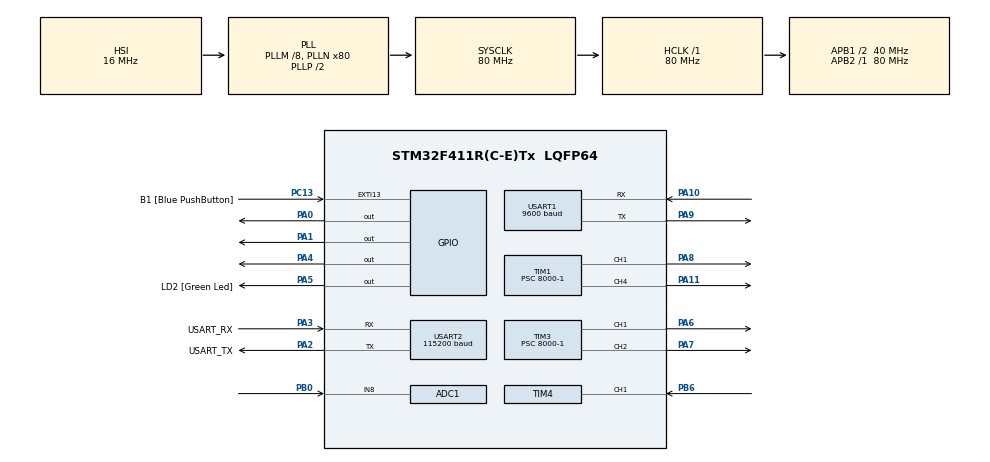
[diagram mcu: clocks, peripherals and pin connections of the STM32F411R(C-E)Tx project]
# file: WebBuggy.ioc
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ADC1.Channel-5\#ChannelRegularConversion=ADC_CHANNEL_8
ADC1.NbrOfConversionFlag=1
ADC1.Rank-5\#ChannelRegularConversion=1
ADC1.SamplingTime-5\#ChannelRegularConversion=ADC_SAMPLETIME_3CYCLES
ADC1.master=1
FREERTOS.Tasks01=defaultTask,0,128,StartDefaultTask,Default,NULL,Dynamic,NULL,NULL;UltrasonicTask,1,128,StartTask02,Default,NULL,Dynamic,NULL,NULL
Mcu.Family=STM32F4
Mcu.Name=STM32F411R(C-E)Tx
Mcu.Package=LQFP64
NVIC.PriorityGroup=NVIC_PRIORITYGROUP_4
NVIC.TIM1_BRK_TIM9_IRQn=true\:15\:0\:false\:false\:true\:false\:false\:true
NVIC.TIM4_IRQn=true\:5\:0\:false\:false\:true\:true\:true\:true
NVIC.TimeBase=TIM1_BRK_TIM9_IRQn
NVIC.TimeBaseIP=TIM9
PA0-WKUP.Signal=GPIO_Output
PA1.Signal=GPIO_Output
PA10.Mode=Asynchronous
PA10.Signal=USART1_RX
PA11.Signal=S_TIM1_CH4
PA13.GPIO_Label=TMS
PA13.Mode=Serial_Wire
PA13.Signal=SYS_JTMS-SWDIO
PA14.GPIO_Label=TCK
PA14.Mode=Serial_Wire
PA14.Signal=SYS_JTCK-SWCLK
PA2.GPIO_Label=USART_TX
PA2.Mode=Asynchronous
PA2.Signal=USART2_TX
PA3.GPIO_Label=USART_RX
PA3.Mode=Asynchronous
PA3.Signal=USART2_RX
PA4.Signal=GPIO_Output
PA5.GPIO_Label=LD2 [Green Led]
PA5.Signal=GPIO_Output
PA6.Signal=S_TIM3_CH1
PA7.Signal=S_TIM3_CH2
PA8.Signal=S_TIM1_CH1
PA9.Mode=Asynchronous
PA9.Signal=USART1_TX
PB0.Signal=ADCx_IN8
PB3.GPIO_Label=SWO
PB3.Signal=SYS_JTDO-SWO
PB6.Signal=S_TIM4_CH1
PC13-ANTI_TAMP.GPIO_Label=B1 [Blue PushButton]
PC13-ANTI_TAMP.GPIO_ModeDefaultEXTI=GPIO_MODE_IT_FALLING
PC13-ANTI_TAMP.Signal=GPXTI13
PC14-OSC32_IN.Mode=LSE-External-Oscillator
PC14-OSC32_IN.Signal=RCC_OSC32_IN
PC15-OSC32_OUT.Mode=LSE-External-Oscillator
PC15-OSC32_OUT.Signal=RCC_OSC32_OUT
PH0\ -\ OSC_IN.Mode=HSE-External-Clock-Source
PH0\ -\ OSC_IN.Signal=RCC_OSC_IN
PH1\ -\ OSC_OUT.Mode=HSE-External-Clock-Source
PH1\ -\ OSC_OUT.Signal=RCC_OSC_OUT
ProjectManager.HeapSize=0x200
ProjectManager.StackSize=0x400
ProjectManager.TargetToolchain=STM32CubeIDE
RCC.48MHZClocksFreq_Value=40000000
RCC.AHBFreq_Value=80000000
RCC.APB1CLKDivider=RCC_HCLK_DIV2
RCC.APB1Freq_Value=40000000
RCC.APB1TimFreq_Value=80000000
RCC.APB2Freq_Value=80000000
RCC.APB2TimFreq_Value=80000000
RCC.CortexFreq_Value=80000000
RCC.FLatency-AdvancedSettings=FLASH_LATENCY_2
RCC.HCLKFreq_Value=80000000
RCC.HSE_VALUE=8000000
RCC.HSI_VALUE=16000000
RCC.PLLM=8
RCC.PLLN=80
RCC.SYSCLKFreq_VALUE=80000000
RCC.SYSCLKSource=RCC_SYSCLKSOURCE_PLLCLK
RCC.VCOOutputFreq_Value=160000000
SH.ADCx_IN8.0=ADC1_IN8,IN8
SH.S_TIM1_CH1.0=TIM1_CH1,PWM Generation1 CH1
SH.S_TIM1_CH4.0=TIM1_CH4,PWM Generation4 CH4
SH.S_TIM3_CH1.0=TIM3_CH1,PWM Generation1 CH1
SH.S_TIM3_CH2.0=TIM3_CH2,PWM Generation2 CH2
SH.S_TIM4_CH1.0=TIM4_CH1,Input_Capture1_from_TI1
TIM1.Channel-PWM\ Generation1\ CH1=TIM_CHANNEL_1
TIM1.Channel-PWM\ Generation4\ CH4=TIM_CHANNEL_4
TIM1.Period=100
TIM1.Prescaler=8000-1
TIM3.Channel-PWM\ Generation1\ CH1=TIM_CHANNEL_1
TIM3.Channel-PWM\ Generation2\ CH2=TIM_CHANNEL_2
TIM3.Period=100
TIM3.Prescaler=8000-1
TIM4.Channel-Input_Capture1_from_TI1=TIM_CHANNEL_1
TIM4.Prescaler=80-1
USART1.BaudRate=9600
USART1.VirtualMode=VM_ASYNC
USART2.BaudRate=115200
USART2.VirtualMode=VM_ASYNC
VP_FREERTOS_VS_CMSIS_V1.Mode=CMSIS_V1
VP_SYS_VS_tim9.Mode=TIM9
VP_TIM1_VS_ClockSourceINT.Mode=Internal
VP_TIM3_VS_ClockSourceINT.Mode=Internal
board=NUCLEO-F411RE

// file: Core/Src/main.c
/* USER CODE BEGIN Header */
/**
 ******************************************************************************
 * @file           : main.c
 * @brief          : Main program body
 ******************************************************************************
 * @attention
 *
 * Copyright (c) 2022 STMicroelectronics.
 * All rights reserved.
 *
 * This software is licensed under terms that can be found in the LICENSE file
 * in the root directory of this software component.
 * If no LICENSE file comes with this software, it is provided AS-IS.
 *
 ******************************************************************************
 */
/* USER CODE END Header */
#include "main.h"
#include "cmsis_os.h"

/* USER CODE BEGIN Includes */
#include "ultrasonic.h"
#include "motor.h"
/* USER CODE END Includes */

ADC_HandleTypeDef hadc1;

TIM_HandleTypeDef htim1;
TIM_HandleTypeDef htim3;
TIM_HandleTypeDef htim4;

UART_HandleTypeDef huart1;
UART_HandleTypeDef huart2;

osThreadId defaultTaskHandle;
osThreadId UltrasonicTaskHandle;

void SystemClock_Config(void);
static void MX_GPIO_Init(void);
static void MX_USART2_UART_Init(void);
static void MX_USART1_UART_Init(void);
static void MX_TIM1_Init(void);
static void MX_TIM3_Init(void);
static void MX_TIM4_Init(void);
static void MX_ADC1_Init(void);
void StartDefaultTask(void const * argument);
void StartTask02(void const * argument);

/* USER CODE BEGIN 0 */
int d = 0;
uint16_t light;
int lighton = 0;

/* USER CODE END 0 */

int main(void)
{

  /* MCU Configuration--------------------------------------------------------*/

  /* Reset of all peripherals, Initializes the Flash interface and the Systick. */
  HAL_Init();

  /* Configure the system clock */
  SystemClock_Config();

  /* Initialize all configured peripherals */
  MX_GPIO_Init();
  MX_USART2_UART_Init();
  MX_USART1_UART_Init();
  MX_TIM1_Init();
  MX_TIM3_Init();
  MX_TIM4_Init();
  MX_ADC1_Init();
  /* USER CODE BEGIN 2 */
	HAL_TIM_PWM_Start(&htim1, TIM_CHANNEL_1);
	HAL_TIM_PWM_Start(&htim1, TIM_CHANNEL_4);
	HAL_TIM_PWM_Start(&htim3, TIM_CHANNEL_1);
	HAL_TIM_PWM_Start(&htim3, TIM_CHANNEL_2);
	HAL_TIM_IC_Start_IT(&htim4, TIM_CHANNEL_1);

  /* USER CODE END 2 */

  /* Create the thread(s) */
  /* definition and creation of defaultTask */
  osThreadDef(defaultTask, StartDefaultTask, osPriorityNormal, 0, 128);
  defaultTaskHandle = osThreadCreate(osThread(defaultTask), NULL);

  /* definition and creation of UltrasonicTask */
  osThreadDef(UltrasonicTask, StartTask02, osPriorityAboveNormal, 0, 128);
  UltrasonicTaskHandle = osThreadCreate(osThread(UltrasonicTask), NULL);

  /* Start scheduler */
  osKernelStart();

  /* We should never get here as control is now taken by the scheduler */
  /* Infinite loop */
	while (1) {

	}
}

void SystemClock_Config(void)
{
  RCC_OscInitTypeDef RCC_OscInitStruct = {0};
  RCC_ClkInitTypeDef RCC_ClkInitStruct = {0};

  /** Configure the main internal regulator output voltage
  */
  __HAL_RCC_PWR_CLK_ENABLE();
  __HAL_PWR_VOLTAGESCALING_CONFIG(PWR_REGULATOR_VOLTAGE_SCALE1);
  /** Initializes the RCC Oscillators according to the specified parameters
  * in the RCC_OscInitTypeDef structure.
  */
  RCC_OscInitStruct.OscillatorType = RCC_OSCILLATORTYPE_HSI;
  RCC_OscInitStruct.HSIState = RCC_HSI_ON;
  RCC_OscInitStruct.HSICalibrationValue = RCC_HSICALIBRATION_DEFAULT;
  RCC_OscInitStruct.PLL.PLLState = RCC_PLL_ON;
  RCC_OscInitStruct.PLL.PLLSource = RCC_PLLSOURCE_HSI;
  RCC_OscInitStruct.PLL.PLLM = 8;
  RCC_OscInitStruct.PLL.PLLN = 80;
  RCC_OscInitStruct.PLL.PLLP = RCC_PLLP_DIV2;
  RCC_OscInitStruct.PLL.PLLQ = 4;
  if (HAL_RCC_OscConfig(&RCC_OscInitStruct) != HAL_OK)
  {
    Error_Handler();
  }
  /** Initializes the CPU, AHB and APB buses clocks
  */
  RCC_ClkInitStruct.ClockType = RCC_CLOCKTYPE_HCLK|RCC_CLOCKTYPE_SYSCLK
                              |RCC_CLOCKTYPE_PCLK1|RCC_CLOCKTYPE_PCLK2;
  RCC_ClkInitStruct.SYSCLKSource = RCC_SYSCLKSOURCE_PLLCLK;
  RCC_ClkInitStruct.AHBCLKDivider = RCC_SYSCLK_DIV1;
  RCC_ClkInitStruct.APB1CLKDivider = RCC_HCLK_DIV2;
  RCC_ClkInitStruct.APB2CLKDivider = RCC_HCLK_DIV1;

  if (HAL_RCC_ClockConfig(&RCC_ClkInitStruct, FLASH_LATENCY_2) != HAL_OK)
  {
    Error_Handler();
  }
}

static void MX_ADC1_Init(void)
{

  ADC_ChannelConfTypeDef sConfig = {0};

  /** Configure the global features of the ADC (Clock, Resolution, Data Alignment and number of conversion)
  */
  hadc1.Instance = ADC1;
  hadc1.Init.ClockPrescaler = ADC_CLOCK_SYNC_PCLK_DIV4;
  hadc1.Init.Resolution = ADC_RESOLUTION_12B;
  hadc1.Init.ScanConvMode = DISABLE;
  hadc1.Init.ContinuousConvMode = DISABLE;
  hadc1.Init.DiscontinuousConvMode = DISABLE;
  hadc1.Init.ExternalTrigConvEdge = ADC_EXTERNALTRIGCONVEDGE_NONE;
  hadc1.Init.ExternalTrigConv = ADC_SOFTWARE_START;
  hadc1.Init.DataAlign = ADC_DATAALIGN_RIGHT;
  hadc1.Init.NbrOfConversion = 1;
  hadc1.Init.DMAContinuousRequests = DISABLE;
  hadc1.Init.EOCSelection = ADC_EOC_SINGLE_CONV;
  if (HAL_ADC_Init(&hadc1) != HAL_OK)
  {
    Error_Handler();
  }
  /** Configure for the selected ADC regular channel its corresponding rank in the sequencer and its sample time.
  */
  sConfig.Channel = ADC_CHANNEL_8;
  sConfig.Rank = 1;
  sConfig.SamplingTime = ADC_SAMPLETIME_3CYCLES;
  if (HAL_ADC_ConfigChannel(&hadc1, &sConfig) != HAL_OK)
  {
    Error_Handler();
  }

}

static void MX_TIM1_Init(void)
{

  TIM_ClockConfigTypeDef sClockSourceConfig = {0};
  TIM_MasterConfigTypeDef sMasterConfig = {0};
  TIM_OC_InitTypeDef sConfigOC = {0};
  TIM_BreakDeadTimeConfigTypeDef sBreakDeadTimeConfig = {0};

  htim1.Instance = TIM1;
  htim1.Init.Prescaler = 8000-1;
  htim1.Init.CounterMode = TIM_COUNTERMODE_UP;
  htim1.Init.Period = 100;
  htim1.Init.ClockDivision = TIM_CLOCKDIVISION_DIV1;
  htim1.Init.RepetitionCounter = 0;
  htim1.Init.AutoReloadPreload = TIM_AUTORELOAD_PRELOAD_DISABLE;
  if (HAL_TIM_Base_Init(&htim1) != HAL_OK)
  {
    Error_Handler();
  }
  sClockSourceConfig.ClockSource = TIM_CLOCKSOURCE_INTERNAL;
  if (HAL_TIM_ConfigClockSource(&htim1, &sClockSourceConfig) != HAL_OK)
  {
    Error_Handler();
  }
  if (HAL_TIM_PWM_Init(&htim1) != HAL_OK)
  {
    Error_Handler();
  }
  sMasterConfig.MasterOutputTrigger = TIM_TRGO_RESET;
  sMasterConfig.MasterSlaveMode = TIM_MASTERSLAVEMODE_DISABLE;
  if (HAL_TIMEx_MasterConfigSynchronization(&htim1, &sMasterConfig) != HAL_OK)
  {
    Error_Handler();
  }
  sConfigOC.OCMode = TIM_OCMODE_PWM1;
  sConfigOC.Pulse = 0;
  sConfigOC.OCPolarity = TIM_OCPOLARITY_HIGH;
  sConfigOC.OCNPolarity = TIM_OCNPOLARITY_HIGH;
  sConfigOC.OCFastMode = TIM_OCFAST_DISABLE;
  sConfigOC.OCIdleState = TIM_OCIDLESTATE_RESET;
  sConfigOC.OCNIdleState = TIM_OCNIDLESTATE_RESET;
  if (HAL_TIM_PWM_ConfigChannel(&htim1, &sConfigOC, TIM_CHANNEL_1) != HAL_OK)
  {
    Error_Handler();
  }
  if (HAL_TIM_PWM_ConfigChannel(&htim1, &sConfigOC, TIM_CHANNEL_4) != HAL_OK)
  {
    Error_Handler();
  }
  sBreakDeadTimeConfig.OffStateRunMode = TIM_OSSR_DISABLE;
  sBreakDeadTimeConfig.OffStateIDLEMode = TIM_OSSI_DISABLE;
  sBreakDeadTimeConfig.LockLevel = TIM_LOCKLEVEL_OFF;
  sBreakDeadTimeConfig.DeadTime = 0;
  sBreakDeadTimeConfig.BreakState = TIM_BREAK_DISABLE;
  sBreakDeadTimeConfig.BreakPolarity = TIM_BREAKPOLARITY_HIGH;
  sBreakDeadTimeConfig.AutomaticOutput = TIM_AUTOMATICOUTPUT_DISABLE;
  if (HAL_TIMEx_ConfigBreakDeadTime(&htim1, &sBreakDeadTimeConfig) != HAL_OK)
  {
    Error_Handler();
  }
  HAL_TIM_MspPostInit(&htim1);

}

static void MX_TIM3_Init(void)
{

  TIM_ClockConfigTypeDef sClockSourceConfig = {0};
  TIM_MasterConfigTypeDef sMasterConfig = {0};
  TIM_OC_InitTypeDef sConfigOC = {0};

  htim3.Instance = TIM3;
  htim3.Init.Prescaler = 8000-1;
  htim3.Init.CounterMode = TIM_COUNTERMODE_UP;
  htim3.Init.Period = 100;
  htim3.Init.ClockDivision = TIM_CLOCKDIVISION_DIV1;
  htim3.Init.AutoReloadPreload = TIM_AUTORELOAD_PRELOAD_DISABLE;
  if (HAL_TIM_Base_Init(&htim3) != HAL_OK)
  {
    Error_Handler();
  }
  sClockSourceConfig.ClockSource = TIM_CLOCKSOURCE_INTERNAL;
  if (HAL_TIM_ConfigClockSource(&htim3, &sClockSourceConfig) != HAL_OK)
  {
    Error_Handler();
  }
  if (HAL_TIM_PWM_Init(&htim3) != HAL_OK)
  {
    Error_Handler();
  }
  sMasterConfig.MasterOutputTrigger = TIM_TRGO_RESET;
  sMasterConfig.MasterSlaveMode = TIM_MASTERSLAVEMODE_DISABLE;
  if (HAL_TIMEx_MasterConfigSynchronization(&htim3, &sMasterConfig) != HAL_OK)
  {
    Error_Handler();
  }
  sConfigOC.OCMode = TIM_OCMODE_PWM1;
  sConfigOC.Pulse = 0;
  sConfigOC.OCPolarity = TIM_OCPOLARITY_HIGH;
  sConfigOC.OCFastMode = TIM_OCFAST_DISABLE;
  if (HAL_TIM_PWM_ConfigChannel(&htim3, &sConfigOC, TIM_CHANNEL_1) != HAL_OK)
  {
    Error_Handler();
  }
  if (HAL_TIM_PWM_ConfigChannel(&htim3, &sConfigOC, TIM_CHANNEL_2) != HAL_OK)
  {
    Error_Handler();
  }
  HAL_TIM_MspPostInit(&htim3);

}

static void MX_TIM4_Init(void)
{

  TIM_MasterConfigTypeDef sMasterConfig = {0};
  TIM_IC_InitTypeDef sConfigIC = {0};

  htim4.Instance = TIM4;
  htim4.Init.Prescaler = 80-1;
  htim4.Init.CounterMode = TIM_COUNTERMODE_UP;
  htim4.Init.Period = 65535;
  htim4.Init.ClockDivision = TIM_CLOCKDIVISION_DIV1;
  htim4.Init.AutoReloadPreload = TIM_AUTORELOAD_PRELOAD_DISABLE;
  if (HAL_TIM_IC_Init(&htim4) != HAL_OK)
  {
    Error_Handler();
  }
  sMasterConfig.MasterOutputTrigger = TIM_TRGO_RESET;
  sMasterConfig.MasterSlaveMode = TIM_MASTERSLAVEMODE_DISABLE;
  if (HAL_TIMEx_MasterConfigSynchronization(&htim4, &sMasterConfig) != HAL_OK)
  {
    Error_Handler();
  }
  sConfigIC.ICPolarity = TIM_INPUTCHANNELPOLARITY_RISING;
  sConfigIC.ICSelection = TIM_ICSELECTION_DIRECTTI;
  sConfigIC.ICPrescaler = TIM_ICPSC_DIV1;
  sConfigIC.ICFilter = 0;
  if (HAL_TIM_IC_ConfigChannel(&htim4, &sConfigIC, TIM_CHANNEL_1) != HAL_OK)
  {
    Error_Handler();
  }

}

static void MX_USART1_UART_Init(void)
{

  huart1.Instance = USART1;
  huart1.Init.BaudRate = 9600;
  huart1.Init.WordLength = UART_WORDLENGTH_8B;
  huart1.Init.StopBits = UART_STOPBITS_1;
  huart1.Init.Parity = UART_PARITY_NONE;
  huart1.Init.Mode = UART_MODE_TX_RX;
  huart1.Init.HwFlowCtl = UART_HWCONTROL_NONE;
  huart1.Init.OverSampling = UART_OVERSAMPLING_16;
  if (HAL_UART_Init(&huart1) != HAL_OK)
  {
    Error_Handler();
  }

}

static void MX_USART2_UART_Init(void)
{

  huart2.Instance = USART2;
  huart2.Init.BaudRate = 115200;
  huart2.Init.WordLength = UART_WORDLENGTH_8B;
  huart2.Init.StopBits = UART_STOPBITS_1;
  huart2.Init.Parity = UART_PARITY_NONE;
  huart2.Init.Mode = UART_MODE_TX_RX;
  huart2.Init.HwFlowCtl = UART_HWCONTROL_NONE;
  huart2.Init.OverSampling = UART_OVERSAMPLING_16;
  if (HAL_UART_Init(&huart2) != HAL_OK)
  {
    Error_Handler();
  }

}

static void MX_GPIO_Init(void)
{
  GPIO_InitTypeDef GPIO_InitStruct = {0};

  /* GPIO Ports Clock Enable */
  __HAL_RCC_GPIOC_CLK_ENABLE();
  __HAL_RCC_GPIOH_CLK_ENABLE();
  __HAL_RCC_GPIOA_CLK_ENABLE();
  __HAL_RCC_GPIOB_CLK_ENABLE();

  /*Configure GPIO pin Output Level */
  HAL_GPIO_WritePin(GPIOA, GPIO_PIN_0|GPIO_PIN_1|GPIO_PIN_4|LD2_Pin, GPIO_PIN_RESET);

  /*Configure GPIO pin : B1_Pin */
  GPIO_InitStruct.Pin = B1_Pin;
  GPIO_InitStruct.Mode = GPIO_MODE_IT_FALLING;
  GPIO_InitStruct.Pull = GPIO_NOPULL;
  HAL_GPIO_Init(B1_GPIO_Port, &GPIO_InitStruct);

  /*Configure GPIO pins : PA0 PA1 PA4 LD2_Pin */
  GPIO_InitStruct.Pin = GPIO_PIN_0|GPIO_PIN_1|GPIO_PIN_4|LD2_Pin;
  GPIO_InitStruct.Mode = GPIO_MODE_OUTPUT_PP;
  GPIO_InitStruct.Pull = GPIO_NOPULL;
  GPIO_InitStruct.Speed = GPIO_SPEED_FREQ_LOW;
  HAL_GPIO_Init(GPIOA, &GPIO_InitStruct);

}

void StartDefaultTask(void const * argument)
{
  /* USER CODE BEGIN 5 */
	char byte = 0;
	/* Infinite loop */
	for (;;) {
		HAL_UART_Receive(&huart1, &byte, 1, 1000);
		//HAL_UART_Transmit(&huart2, &byte, 1, 1000);
		setMotor(byte);
		byte = 0;
		if (light < 1700) {
			HAL_GPIO_WritePin(GPIOA, GPIO_PIN_4, 1);
			lighton=1;
		} else {
			HAL_GPIO_WritePin(GPIOA, GPIO_PIN_4, 0);
			lighton=0;
		}
		if (d < 25) {
			HAL_GPIO_WritePin(GPIOA, GPIO_PIN_1, 1);
		} else {
			HAL_GPIO_WritePin(GPIOA, GPIO_PIN_1, 0);
		}
	}
  /* USER CODE END 5 */
}

void StartTask02(void const * argument)
{
  /* USER CODE BEGIN StartTask02 */

	char tmp;
	char code = 'u';
	int dist;
	char lightstatus;
	/* Infinite loop */
	for (;;) {
		d = ReadUltrasonic() % 1000;
		dist = d;
		HAL_UART_Transmit(&huart1, &code, 1, 1000);
		tmp = (dist / 100) + '0';
		dist %= 100;
		HAL_UART_Transmit(&huart1, &tmp, 1, 1000);
		tmp = (dist / 10) + '0';
		dist %= 10;
		HAL_UART_Transmit(&huart1, &tmp, 1, 1000);
		tmp = dist + '0';
		HAL_UART_Transmit(&huart1, &tmp, 1, 1000);

		HAL_ADC_Start(&hadc1);
		if (HAL_ADC_PollForConversion(&hadc1, 1000) == HAL_OK) {
			light = HAL_ADC_GetValue(&hadc1);
		}
		if(lighton == 1){
			lightstatus='i';
		}else{
			lightstatus='o';
		}
		HAL_UART_Transmit(&huart1, &lightstatus, 1, 1000);

//		char s[10];
//		sprintf(s, "%d\r\n", light);
//		HAL_UART_Transmit(&huart2, s, strlen(s), 1000);
		osDelay(210);
	}
  /* USER CODE END StartTask02 */
}

void HAL_TIM_PeriodElapsedCallback(TIM_HandleTypeDef *htim)
{
  if (htim->Instance == TIM9) {
    HAL_IncTick();
  }
}

void Error_Handler(void)
{
	__disable_irq();
	while (1) {
	}
}
